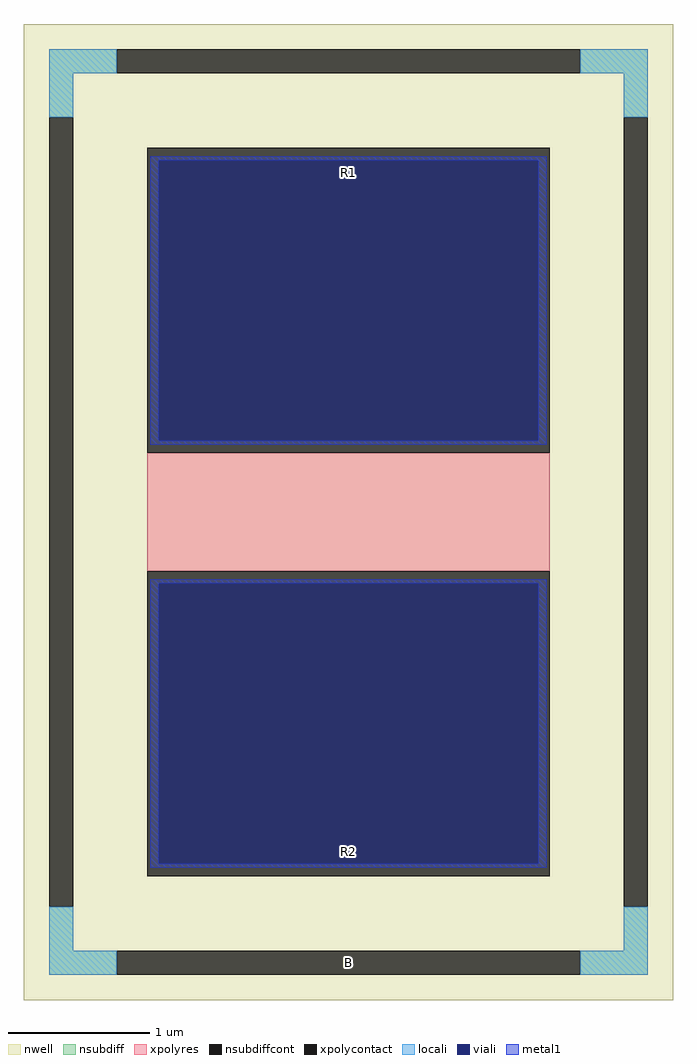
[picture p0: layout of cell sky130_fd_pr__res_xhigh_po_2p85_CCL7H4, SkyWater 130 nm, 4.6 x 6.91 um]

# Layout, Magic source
magic
tech sky130A
magscale 1 2
<< nwell >>
rect -460 -691 460 691
<< nsubdiff >>
rect -424 621 -328 655
rect 328 621 424 655
rect -424 559 -390 621
rect 390 559 424 621
rect -424 -621 -390 -559
rect 390 -621 424 -559
rect -424 -655 -328 -621
rect 328 -655 424 -621
<< nsubdiffcont >>
rect -328 621 328 655
rect -424 -559 -390 559
rect 390 -559 424 559
rect -328 -655 328 -621
<< xpolycontact >>
rect -285 84 285 516
rect -285 -516 285 -84
<< xpolyres >>
rect -285 -84 285 84
<< locali >>
rect -424 621 -328 655
rect 328 621 424 655
rect -424 559 -390 621
rect 390 559 424 621
rect -424 -621 -390 -559
rect 390 -621 424 -559
rect -424 -655 -328 -621
rect 328 -655 424 -621
<< viali >>
rect -269 101 269 498
rect -269 -498 269 -101
<< metal1 >>
rect -281 498 281 504
rect -281 101 -269 498
rect 269 101 281 498
rect -281 95 281 101
rect -281 -101 281 -95
rect -281 -498 -269 -101
rect 269 -498 281 -101
rect -281 -504 281 -498
<< labels >>
rlabel nsubdiffcont 0 -638 0 -638 0 B
port 1 nsew
rlabel xpolycontact 0 481 0 481 0 R1
port 2 nsew
rlabel xpolycontact 0 -481 0 -481 0 R2
port 3 nsew
<< properties >>
string FIXED_BBOX -407 -638 407 638
string gencell sky130_fd_pr__res_xhigh_po_2p85
string library sky130
string parameters w 2.850 l 1.0 m 1 nx 1 wmin 2.850 lmin 0.50 class resistor rho 2000 val 833.824 dummy 0 dw 0.0 term 188.2 sterm 0.0 caplen 0 wmax 2.850 guard 1 glc 1 grc 1 gtc 1 gbc 1 compatible {sky130_fd_pr__res_xhigh_po_0p35  sky130_fd_pr__res_xhigh_po_0p69 sky130_fd_pr__res_xhigh_po_1p41  sky130_fd_pr__res_xhigh_po_2p85 sky130_fd_pr__res_xhigh_po_5p73} snake 0 full_metal 1 n_guard 1 hv_guard 0 vias 1 viagb 0 viagt 0 viagl 0 viagr 0 doports 1
<< end >>
